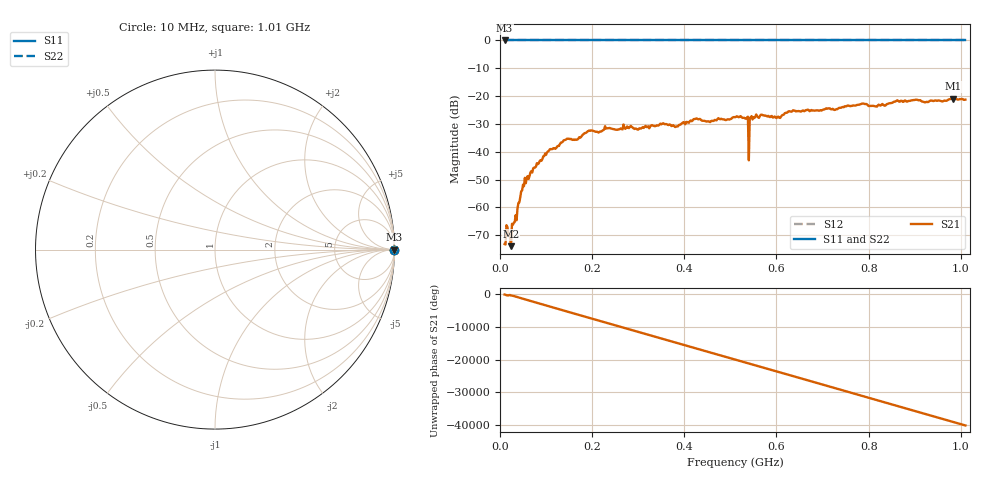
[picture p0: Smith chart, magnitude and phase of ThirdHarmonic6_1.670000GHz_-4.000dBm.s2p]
! 8/16/2025 8:01:17 PM
! C:\ANRITSUVNA\TEMP\TEMP.S2P
! CHANNEL.1
! TR.MEASUREMENT
! RAW.DATA
! RF.CORRECTION.OFF
! AVERAGING.OFF
! IF.BANDWIDTH: 5KHZ
! SWEEPTYPE:  FREQ.SWEEP(Linear)
! Reference Plane Port Info
! PORT:  PORT1  PORT2
! DISTANCE:  0  m  0  m
! TIME:  0  s  0  s
! PHASE.OFFSET:  0  deg.  0  deg.
! LOSS:  0  dB  0  dB
! REF.LOSS:  0  dB  0  dB
! REF.FREQ:  0  Hz  0  Hz
! Power Info
! POWER:  -20  dBm  -20  dBm
! EFF.POWER:  -20  dBm  -20  dBm
! SOURCE.ATTEN:  0  dB  0  dB
! TEST.ATTEN:  0  dB  0  dB
# GHZ S RI R 50.0
! FREQ.GHZ  S11RE  S11IM  S21RE  S21IM  S12RE  S12IM  S22RE  S22IM
!; PortSelection: Port_12
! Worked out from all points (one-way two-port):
!   501 points, 10 MHz to 1.01 GHz, reference 50 ohm
!   highest |S21| = -20.88 dB at 984 MHz (marker M1); lowest = -73.9 dB at 24 MHz (marker M2)
!   lowest |S11| = 0.0 dB at 10 MHz (marker M3)
!   |S11| at or under -10 dB: nowhere
!   |S22| runs from 0.0 to 0.0 dB; largest |S21 - S12| = 1.1
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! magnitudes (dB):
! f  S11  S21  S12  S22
! 10 MHz  0.0  -73.2  0.0  0.0
! 18 MHz  0.0  -69.2  0.0  0.0
! 20 MHz  0.0  -69.5  0.0  0.0
! 24 MHz  0.0  -73.9  0.0  0.0
! 50 MHz  0.0  -51.8  0.0  0.0
! 70 MHz  0.0  -47.5  0.0  0.0
! 108 MHz  0.0  -39.1  0.0  0.0
! 142 MHz  0.0  -35.7  0.0  0.0
! 178 MHz  0.0  -34.2  0.0  0.0
! 232 MHz  0.0  -31.5  0.0  0.0
! 344 MHz  0.0  -30.6  0.0  0.0
! 382 MHz  0.0  -31.0  0.0  0.0
! 510 MHz  0.0  -27.6  0.0  0.0
! 534 MHz  0.0  -28.1  0.0  0.0
! 536 MHz  0.0  -27.7  0.0  0.0
! 544 MHz  0.0  -27.7  0.0  0.0
! 546 MHz  0.0  -27.2  0.0  0.0
! 554 MHz  0.0  -27.4  0.0  0.0
! 678 MHz  0.0  -25.2  0.0  0.0
! 844 MHz  0.0  -22.6  0.0  0.0
! 984 MHz  0.0  -20.9  0.0  0.0
! 1.01 GHz  0.0  -21.3  0.0  0.0
